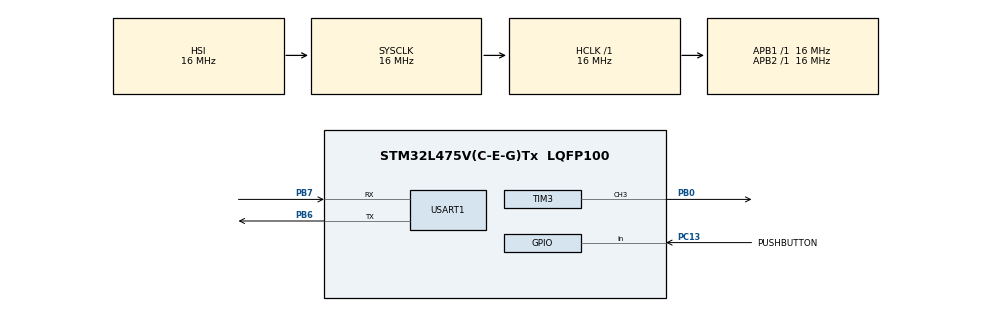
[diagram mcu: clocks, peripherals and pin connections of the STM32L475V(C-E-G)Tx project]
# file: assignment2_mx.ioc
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Dma.Request0=USART1_RX
Dma.Request1=USART1_TX
Dma.USART1_RX.0.Direction=DMA_PERIPH_TO_MEMORY
Dma.USART1_RX.0.Instance=DMA1_Channel5
Dma.USART1_RX.0.MemDataAlignment=DMA_MDATAALIGN_BYTE
Dma.USART1_RX.0.MemInc=DMA_MINC_ENABLE
Dma.USART1_RX.0.Mode=DMA_CIRCULAR
Dma.USART1_RX.0.PeriphDataAlignment=DMA_PDATAALIGN_BYTE
Dma.USART1_RX.0.PeriphInc=DMA_PINC_DISABLE
Dma.USART1_RX.0.Priority=DMA_PRIORITY_LOW
Dma.USART1_TX.1.Direction=DMA_MEMORY_TO_PERIPH
Dma.USART1_TX.1.Instance=DMA1_Channel4
Dma.USART1_TX.1.MemDataAlignment=DMA_MDATAALIGN_BYTE
Dma.USART1_TX.1.MemInc=DMA_MINC_ENABLE
Dma.USART1_TX.1.Mode=DMA_NORMAL
Dma.USART1_TX.1.PeriphDataAlignment=DMA_PDATAALIGN_BYTE
Dma.USART1_TX.1.PeriphInc=DMA_PINC_DISABLE
Dma.USART1_TX.1.Priority=DMA_PRIORITY_LOW
FREERTOS.INCLUDE_vTaskDelayUntil=1
FREERTOS.INCLUDE_xEventGroupSetBitFromISR=1
FREERTOS.INCLUDE_xQueueGetMutexHolder=1
FREERTOS.INCLUDE_xSemaphoreGetMutexHolder=1
FREERTOS.INCLUDE_xTaskGetCurrentTaskHandle=1
FREERTOS.INCLUDE_xTimerPendFunctionCall=1
FREERTOS.Tasks01=defaultTask,-3,512,StartDefaultTask,Default,NULL,Dynamic,NULL,NULL
FREERTOS.configCHECK_FOR_STACK_OVERFLOW=2
FREERTOS.configLIBRARY_LOWEST_INTERRUPT_PRIORITY=7
FREERTOS.configMAX_PRIORITIES=7
FREERTOS.configMINIMAL_STACK_SIZE=128
FREERTOS.configTOTAL_HEAP_SIZE=30000
FREERTOS.configUSE_COUNTING_SEMAPHORES=1
FREERTOS.configUSE_CO_ROUTINES=1
FREERTOS.configUSE_NEWLIB_REENTRANT=1
FREERTOS.configUSE_RECURSIVE_MUTEXES=1
FREERTOS.configUSE_TIMERS=1
Mcu.Family=STM32L4
Mcu.Name=STM32L475V(C-E-G)Tx
Mcu.Package=LQFP100
NVIC.DMA1_Channel4_IRQn=true\:5\:0\:false\:false\:true\:true\:false\:true\:true
NVIC.DMA1_Channel5_IRQn=true\:5\:0\:false\:false\:true\:true\:false\:true\:true
NVIC.PriorityGroup=NVIC_PRIORITYGROUP_4
NVIC.TIM6_DAC_IRQn=true\:15\:0\:false\:false\:true\:false\:false\:true\:true
NVIC.TimeBase=TIM6_DAC_IRQn
NVIC.TimeBaseIP=TIM6
NVIC.USART1_IRQn=true\:5\:0\:false\:false\:true\:true\:true\:true\:true
PB0.Signal=S_TIM3_CH3
PB6.Mode=Asynchronous
PB6.Signal=USART1_TX
PB7.Mode=Asynchronous
PB7.Signal=USART1_RX
PC13.GPIO_Label=PUSHBUTTON
PC13.GPIO_PuPd=GPIO_PULLUP
PC13.Signal=GPIO_Input
ProjectManager.HeapSize=0x1200
ProjectManager.StackSize=0x3000
ProjectManager.TargetToolchain=STM32CubeIDE
RCC.ADCFreq_Value=16000000
RCC.AHBFreq_Value=16000000
RCC.APB1Freq_Value=16000000
RCC.APB1TimFreq_Value=16000000
RCC.APB2Freq_Value=16000000
RCC.APB2TimFreq_Value=16000000
RCC.CortexFreq_Value=16000000
RCC.HCLKFreq_Value=16000000
RCC.HSE_VALUE=8000000
RCC.HSI_VALUE=16000000
RCC.LSE_VALUE=32768
RCC.MSI_VALUE=4000000
RCC.PLLN=16
RCC.SYSCLKFreq_VALUE=16000000
RCC.SYSCLKSource=RCC_SYSCLKSOURCE_HSI
RCC.USBFreq_Value=16000000
RCC.VCOOutputFreq_Value=64000000
SH.S_TIM3_CH3.0=TIM3_CH3,PWM Generation3 CH3
TIM3.Channel-PWM\ Generation3\ CH3=TIM_CHANNEL_3
TIM3.Period=4545
TIM3.Prescaler=8-1
USART1.VirtualMode-Asynchronous=VM_ASYNC
VP_FREERTOS_VS_CMSIS_V1.Mode=CMSIS_V1
VP_SYS_VS_tim6.Mode=TIM6
board=custom

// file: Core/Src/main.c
/* USER CODE BEGIN Header */
/**
  ******************************************************************************
  * @file           : main.c
  * @brief          : Main program body
  ******************************************************************************
  * @attention
  *
  * Copyright (c) 2023 STMicroelectronics.
  * All rights reserved.
  *
  * This software is licensed under terms that can be found in the LICENSE file
  * in the root directory of this software component.
  * If no LICENSE file comes with this software, it is provided AS-IS.
  *
  ******************************************************************************
  */
/* USER CODE END Header */
#include "main.h"
#include "cmsis_os.h"
#include "dma.h"
#include "tim.h"
#include "usart.h"
#include "gpio.h"

/* USER CODE BEGIN Includes */
#include "stdio.h"
/* USER CODE END Includes */

/* USER CODE BEGIN PV */
void HAL_GPIO_EXTI_Callback(uint16_t GPIO_Pin){

}
/* USER CODE END PV */

void SystemClock_Config(void);
void MX_FREERTOS_Init(void);

int main(void)
{

  /* MCU Configuration--------------------------------------------------------*/

  /* Reset of all peripherals, Initializes the Flash interface and the Systick. */
  HAL_Init();

  /* Configure the system clock */
  SystemClock_Config();

  /* Initialize all configured peripherals */
  MX_GPIO_Init();
  MX_DMA_Init();
  MX_USART1_UART_Init();
  MX_TIM3_Init();
  /* USER CODE BEGIN 2 */
  htim3.Instance->ARR = 100;
  htim3.Instance->CCR3 = 5;
  __HAL_TIM_SET_PRESCALER(&htim3, 400);
  HAL_TIM_PWM_Start(&htim3, TIM_CHANNEL_3);
  HAL_Delay(1000);
  uint16_t presc = 400;
  while (presc > 0){
	  presc--;
  __HAL_TIM_SET_PRESCALER(&htim3, presc);
  HAL_Delay(100);
  }

  /* USER CODE END 2 */

  /* Call init function for freertos objects (in freertos.c) */
  MX_FREERTOS_Init();

  /* Start scheduler */
  osKernelStart();

  /* We should never get here as control is now taken by the scheduler */
  /* Infinite loop */
  while (1)
  {

  }
}

void SystemClock_Config(void)
{
  RCC_OscInitTypeDef RCC_OscInitStruct = {0};
  RCC_ClkInitTypeDef RCC_ClkInitStruct = {0};

  /** Configure the main internal regulator output voltage
  */
  if (HAL_PWREx_ControlVoltageScaling(PWR_REGULATOR_VOLTAGE_SCALE1) != HAL_OK)
  {
    Error_Handler();
  }

  /** Initializes the RCC Oscillators according to the specified parameters
  * in the RCC_OscInitTypeDef structure.
  */
  RCC_OscInitStruct.OscillatorType = RCC_OSCILLATORTYPE_HSI;
  RCC_OscInitStruct.HSIState = RCC_HSI_ON;
  RCC_OscInitStruct.HSICalibrationValue = RCC_HSICALIBRATION_DEFAULT;
  RCC_OscInitStruct.PLL.PLLState = RCC_PLL_NONE;
  if (HAL_RCC_OscConfig(&RCC_OscInitStruct) != HAL_OK)
  {
    Error_Handler();
  }

  /** Initializes the CPU, AHB and APB buses clocks
  */
  RCC_ClkInitStruct.ClockType = RCC_CLOCKTYPE_HCLK|RCC_CLOCKTYPE_SYSCLK
                              |RCC_CLOCKTYPE_PCLK1|RCC_CLOCKTYPE_PCLK2;
  RCC_ClkInitStruct.SYSCLKSource = RCC_SYSCLKSOURCE_HSI;
  RCC_ClkInitStruct.AHBCLKDivider = RCC_SYSCLK_DIV1;
  RCC_ClkInitStruct.APB1CLKDivider = RCC_HCLK_DIV1;
  RCC_ClkInitStruct.APB2CLKDivider = RCC_HCLK_DIV1;

  if (HAL_RCC_ClockConfig(&RCC_ClkInitStruct, FLASH_LATENCY_0) != HAL_OK)
  {
    Error_Handler();
  }
}

void HAL_TIM_PeriodElapsedCallback(TIM_HandleTypeDef *htim)
{
  if (htim->Instance == TIM6) {
    HAL_IncTick();
  }
}

void Error_Handler(void)
{
  __disable_irq();
  while (1)
  {
  }
}

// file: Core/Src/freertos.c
/* USER CODE BEGIN Header */
/**
  ******************************************************************************
  * File Name          : freertos.c
  * Description        : Code for freertos applications
  ******************************************************************************
  * @attention
  *
  * Copyright (c) 2023 STMicroelectronics.
  * All rights reserved.
  *
  * This software is licensed under terms that can be found in the LICENSE file
  * in the root directory of this software component.
  * If no LICENSE file comes with this software, it is provided AS-IS.
  *
  ******************************************************************************
  */
/* USER CODE END Header */

#include "FreeRTOS.h"
#include "task.h"
#include "main.h"
#include "cmsis_os.h"

/* USER CODE BEGIN Includes */
#include "rtos_incs.h"
#include "lis_task.h"
#include "lps_task.h"
#include "lsm_task.h"
#include "hts_task.h"
#include "uart1_task.h"
#include "buzzer_task.h"
/* USER CODE END Includes */

/* USER CODE BEGIN Variables */

TaskHandle_t uart1_task_handle;
TaskHandle_t lis_task_handle;
TaskHandle_t lps_task_handle;
TaskHandle_t lsm_task_handle;
TaskHandle_t hts_task_handle;
TaskHandle_t buzzer_task_handle;

QueueHandle_t UART1_queue;

/* USER CODE END Variables */
osThreadId defaultTaskHandle;

void StartDefaultTask(void const * argument);

void MX_FREERTOS_Init(void); /* (MISRA C 2004 rule 8.1) */

/* GetIdleTaskMemory prototype (linked to static allocation support) */
void vApplicationGetIdleTaskMemory( StaticTask_t **ppxIdleTaskTCBBuffer, StackType_t **ppxIdleTaskStackBuffer, uint32_t *pulIdleTaskStackSize );

/* GetTimerTaskMemory prototype (linked to static allocation support) */
void vApplicationGetTimerTaskMemory( StaticTask_t **ppxTimerTaskTCBBuffer, StackType_t **ppxTimerTaskStackBuffer, uint32_t *pulTimerTaskStackSize );

/* Hook prototypes */
void vApplicationStackOverflowHook(xTaskHandle xTask, signed char *pcTaskName);

/* USER CODE BEGIN 4 */
__weak void vApplicationStackOverflowHook(xTaskHandle xTask, signed char *pcTaskName)
{
   /* Run time stack overflow checking is performed if
   configCHECK_FOR_STACK_OVERFLOW is defined to 1 or 2. This hook function is
   called if a stack overflow is detected. */
}
/* USER CODE END 4 */

/* USER CODE BEGIN GET_IDLE_TASK_MEMORY */
static StaticTask_t xIdleTaskTCBBuffer;
static StackType_t xIdleStack[configMINIMAL_STACK_SIZE];

void vApplicationGetIdleTaskMemory( StaticTask_t **ppxIdleTaskTCBBuffer, StackType_t **ppxIdleTaskStackBuffer, uint32_t *pulIdleTaskStackSize )
{
  *ppxIdleTaskTCBBuffer = &xIdleTaskTCBBuffer;
  *ppxIdleTaskStackBuffer = &xIdleStack[0];
  *pulIdleTaskStackSize = configMINIMAL_STACK_SIZE;
  /* place for user code */
}
/* USER CODE END GET_IDLE_TASK_MEMORY */

/* USER CODE BEGIN GET_TIMER_TASK_MEMORY */
static StaticTask_t xTimerTaskTCBBuffer;
static StackType_t xTimerStack[configTIMER_TASK_STACK_DEPTH];

void vApplicationGetTimerTaskMemory( StaticTask_t **ppxTimerTaskTCBBuffer, StackType_t **ppxTimerTaskStackBuffer, uint32_t *pulTimerTaskStackSize )
{
  *ppxTimerTaskTCBBuffer = &xTimerTaskTCBBuffer;
  *ppxTimerTaskStackBuffer = &xTimerStack[0];
  *pulTimerTaskStackSize = configTIMER_TASK_STACK_DEPTH;
  /* place for user code */
}
/* USER CODE END GET_TIMER_TASK_MEMORY */

void MX_FREERTOS_Init(void) {

  /* USER CODE BEGIN RTOS_QUEUES */
  /* add queues, ... */
	UART1_queue = xQueueCreate(5,sizeof(queue_UART_msg_t*));
  /* USER CODE END RTOS_QUEUES */

  /* Create the thread(s) */
  /* definition and creation of defaultTask */
  osThreadDef(defaultTask, StartDefaultTask, osPriorityIdle, 0, 512);
  defaultTaskHandle = osThreadCreate(osThread(defaultTask), NULL);

  /* USER CODE BEGIN RTOS_THREADS */

  BaseType_t status =0;
//	if (UART1_queue != NULL){
		//error somehow? lol
	  status = xTaskCreate(lis_task, "lis_task", 512, (void*)1,
			  /*priority*/ (UBaseType_t) 5, &lis_task_handle);
	  status = xTaskCreate(uart1_task, "uart_task", 512, (void*)1,
			  /*priority*/ (UBaseType_t) 5, &uart1_task_handle);
	  status = xTaskCreate(lps_task, "lps_task", 512, (void*)1,
			  /*priority*/ (UBaseType_t) 5, &lps_task_handle);
	  status = xTaskCreate(hts_task, "hts_task", 512, (void*)1,
			  /*priority*/ (UBaseType_t) 5, &hts_task_handle);
	  status = xTaskCreate(lsm_task, "lsm_task", 512, (void*)1,
			  /*priority*/ (UBaseType_t) 5, &lsm_task_handle);
	  status = xTaskCreate(buzzer_task, "buzzer_task", 512, (void*)1,
			  /*priority*/ (UBaseType_t) 5, &buzzer_task_handle);
//	}
  /* add threads, ... */
  /* USER CODE END RTOS_THREADS */

}

void StartDefaultTask(void const * argument)
{
  for(;;)
  {
    osDelay(1);
  }
}
